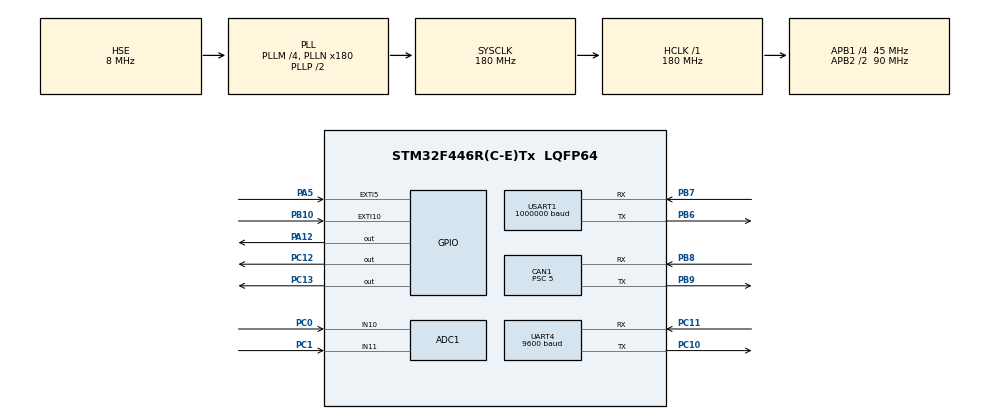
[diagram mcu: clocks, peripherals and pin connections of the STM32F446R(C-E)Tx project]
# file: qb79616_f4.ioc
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ADC1.Channel-0\#ChannelRegularConversion=ADC_CHANNEL_10
ADC1.Channel-2\#ChannelRegularConversion=ADC_CHANNEL_11
ADC1.ContinuousConvMode=ENABLE
ADC1.DMAContinuousRequests=ENABLE
ADC1.InjNumberOfConversion=0
ADC1.NbrOfConversion=2
ADC1.NbrOfConversionFlag=1
ADC1.Rank-0\#ChannelRegularConversion=1
ADC1.Rank-2\#ChannelRegularConversion=2
ADC1.SamplingTime-0\#ChannelRegularConversion=ADC_SAMPLETIME_3CYCLES
ADC1.SamplingTime-2\#ChannelRegularConversion=ADC_SAMPLETIME_3CYCLES
ADC1.ScanConvMode=ENABLE
ADC1.master=1
CAN1.BS1=CAN_BS1_14TQ
CAN1.BS2=CAN_BS2_3TQ
CAN1.CalculateBaudRate=500000
CAN1.CalculateTimeBit=2000
CAN1.CalculateTimeQuantum=111.11111111111111
CAN1.Prescaler=5
Dma.ADC1.0.Direction=DMA_PERIPH_TO_MEMORY
Dma.ADC1.0.FIFOMode=DMA_FIFOMODE_DISABLE
Dma.ADC1.0.Instance=DMA2_Stream0
Dma.ADC1.0.MemDataAlignment=DMA_MDATAALIGN_HALFWORD
Dma.ADC1.0.MemInc=DMA_MINC_ENABLE
Dma.ADC1.0.Mode=DMA_CIRCULAR
Dma.ADC1.0.PeriphDataAlignment=DMA_PDATAALIGN_HALFWORD
Dma.ADC1.0.PeriphInc=DMA_PINC_DISABLE
Dma.ADC1.0.Priority=DMA_PRIORITY_LOW
Dma.Request0=ADC1
Mcu.Family=STM32F4
Mcu.Name=STM32F446R(C-E)Tx
Mcu.Package=LQFP64
NVIC.ADC_IRQn=true\:5\:0\:true\:false\:true\:true\:true\:true
NVIC.CAN1_RX0_IRQn=true\:0\:0\:true\:false\:true\:true\:true\:true
NVIC.CAN1_RX1_IRQn=true\:0\:0\:true\:false\:true\:true\:true\:true
NVIC.DMA2_Stream0_IRQn=true\:5\:0\:true\:false\:true\:false\:true\:true
NVIC.EXTI9_5_IRQn=true\:5\:0\:true\:false\:true\:true\:true\:true
NVIC.PriorityGroup=NVIC_PRIORITYGROUP_4
NVIC.TIM1_UP_TIM10_IRQn=true\:15\:0\:false\:false\:true\:false\:true\:true
NVIC.TimeBase=TIM1_UP_TIM10_IRQn
NVIC.TimeBaseIP=TIM1
NVIC.USART1_IRQn=true\:0\:0\:true\:false\:true\:true\:true\:true
PA12.Signal=GPIO_Output
PA13.Mode=Serial_Wire
PA13.Signal=SYS_JTMS-SWDIO
PA14.Mode=Serial_Wire
PA14.Signal=SYS_JTCK-SWCLK
PA5.GPIO_ModeDefaultEXTI=GPIO_MODE_IT_FALLING
PA5.GPIO_PuPd=GPIO_PULLUP
PA5.Signal=GPXTI5
PB10.Signal=GPXTI10
PB6.Mode=Asynchronous
PB6.Signal=USART1_TX
PB7.Mode=Asynchronous
PB7.Signal=USART1_RX
PB8.Mode=CAN_Activate
PB8.Signal=CAN1_RX
PB9.Mode=CAN_Activate
PB9.Signal=CAN1_TX
PC0.Signal=ADCx_IN10
PC1.Signal=ADCx_IN11
PC10.Mode=Asynchronous
PC10.Signal=UART4_TX
PC11.Mode=Asynchronous
PC11.Signal=UART4_RX
PC12.PinState=GPIO_PIN_SET
PC12.Signal=GPIO_Output
PC13.Signal=GPIO_Output
PH0-OSC_IN.Mode=HSE-External-Oscillator
PH0-OSC_IN.Signal=RCC_OSC_IN
PH1-OSC_OUT.Mode=HSE-External-Oscillator
PH1-OSC_OUT.Signal=RCC_OSC_OUT
ProjectManager.HeapSize=0x200
ProjectManager.StackSize=0x400
ProjectManager.TargetToolchain=STM32CubeIDE
RCC.AHBFreq_Value=180000000
RCC.APB1CLKDivider=RCC_HCLK_DIV4
RCC.APB1Freq_Value=45000000
RCC.APB1TimFreq_Value=90000000
RCC.APB2CLKDivider=RCC_HCLK_DIV2
RCC.APB2Freq_Value=90000000
RCC.APB2TimFreq_Value=180000000
RCC.CortexFreq_Value=180000000
RCC.HCLKFreq_Value=180000000
RCC.HSE_VALUE=8000000
RCC.PLLM=4
RCC.PLLN=180
RCC.PLLSourceVirtual=RCC_PLLSOURCE_HSE
RCC.SYSCLKFreq_VALUE=180000000
RCC.SYSCLKSource=RCC_SYSCLKSOURCE_PLLCLK
RCC.USBFreq_Value=180000000
RCC.VCOOutputFreq_Value=360000000
SH.ADCx_IN10.0=ADC1_IN10,IN10
SH.ADCx_IN11.0=ADC1_IN11,IN11
UART4.BaudRate=9600
UART4.VirtualMode=Asynchronous
USART1.BaudRate=1000000
USART1.VirtualMode=VM_ASYNC
VP_SYS_VS_tim1.Mode=TIM1
board=custom

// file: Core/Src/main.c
/* USER CODE BEGIN Header */
/**
 ******************************************************************************
 * @file           : main.c
 * @brief          : Main program body
 ******************************************************************************
 * @attention
 *
 * Copyright (c) 2025 STMicroelectronics.
 * All rights reserved.
 *
 * This software is licensed under terms that can be found in the LICENSE file
 * in the root directory of this software component.
 * If no LICENSE file comes with this software, it is provided AS-IS..
 *
 ******************************************************************************
 */
/* USER CODE END Header */
#include "main.h"

/* USER CODE BEGIN Includes */

#include <stdint.h>
#include <stdio.h>
#include <stdlib.h>
#include <string.h>
#include "BMS_Config.h"
#include "BMS_tests.h"
#include "queue.h"
#include "semphr.h"
#include "event_groups.h"
#include "GUI.h"
#include "Faults.h"
#include "Voltages.h"
#include "Temperatures.h"
#include "Balancing.h"
/* USER CODE END Includes */

ADC_HandleTypeDef hadc1;
DMA_HandleTypeDef hdma_adc1;

CAN_HandleTypeDef hcan1;

UART_HandleTypeDef huart4;
UART_HandleTypeDef huart1;

/* USER CODE BEGIN PV */
//-----------------------------------------
// External Fault Variables
//-----------------------------------------
extern uint8_t bridge_faultSummary;

extern uint8_t bridge_faultPWR;
extern uint8_t bridge_faultSYS;
extern uint8_t bridge_faultREG;
extern uint8_t bridge_faultCOMM1;
extern uint8_t bridge_faultCOMM2;

//-----------------------------------------
//Define Tasks Handler to hold task ID
//-----------------------------------------
//TaskHandle_t defaultTaskHandle;

TaskHandle_t BmsInitTaskHandle;
TaskHandle_t BmsMonitorTaskHandle;
TaskHandle_t BmsFaultTaskHandle;
TaskHandle_t BmsBalancingTaskHandle;
TaskHandle_t BmsGUITaskHandle;
TaskHandle_t BmsChargerTaskHandle;
TaskHandle_t BmsCurrentSensorTaskHandle;

//----------------
//RTOS EVENTGroup Bits
//----------------
const EventBits_t BMS_INIT_DONE_BIT = (1 << 0);

EventGroupHandle_t BMS_EventGroup;

//----------------
//RTOS MUTEX
//----------------
SemaphoreHandle_t UART_MUTEX;
SemaphoreHandle_t CAN_MUTEX;

//Private user Variables
uint8_t init_done = 0;
float battery_volt = 0;
extern EventGroupHandle_t uartEventGroup;

//------------------------
//    CAN Variables
//-----------------------
CAN_TxHeaderTypeDef BMS_CAN_TxHandler;
CAN_TxHeaderTypeDef BMS_CHAR_CAN_TxHandler;
CAN_RxHeaderTypeDef BMS_CAN_RxHandler;

uint32_t TxMailbox;
uint8_t BMS_CAN_TxData[8];
BMS_CAN_Frame_t BMS_CAN_RxData;

//------------------------
//    CHARGER Variables
//-----------------------
volatile uint8_t charger_fault = 0;
volatile uint8_t charger_ON = 0;
volatile TickType_t charger_last_rx_time;

//------------------------
//    Current Sensor Variables
//-----------------------
volatile uint16_t current_buffer[NUM_SAMPLES * NUM_CHANNELS];
uint32_t raw_adc_Vout;
uint32_t raw_adc_Vref;
double current_read;

/* USER CODE END PV */

void SystemClock_Config(void);
static void MX_GPIO_Init(void);
static void MX_DMA_Init(void);
static void MX_USART1_UART_Init(void);
static void MX_UART4_Init(void);
static void MX_CAN1_Init(void);
static void MX_ADC1_Init(void);
/* USER CODE BEGIN PFP */

//Declare Tasks Entery point
//void StartDefaultTask(void const * argument);

void BMS_Init(void const * argument);

//A Task that periodically pull Cell voltage and Temperature reading
void BMS_MonitorTask(void const * argument);

//Activated by an Event group to trigger shutdown circuit and Handle fault
void BMS_FaultTask(void const * argument);

void BMS_BalancingTask(void const * argument);

void BMS_ChargerTask(void const * argument);

void BMS_GUI_Task(void const * argument);

void BMS_CurrentSensorTask(void const * argument);

/* USER CODE END PFP */

int main(void)
{

	/* MCU Configuration--------------------------------------------------------*/

	/* Reset of all peripherals, Initializes the Flash interface and the Systick. */
	HAL_Init();

	/* Configure the system clock */
	SystemClock_Config();

	/* Initialize all configured peripherals */
	MX_GPIO_Init();
	MX_DMA_Init();
	MX_USART1_UART_Init();
	MX_UART4_Init();
	MX_CAN1_Init();
	MX_ADC1_Init();
	/* USER CODE BEGIN 2 */
	HAL_GPIO_WritePin(GPIOC, GPIO_PIN_12, GPIO_PIN_SET);
	BMS_Can_Init();

	//==================Define EventGroups===================//
	BMS_EventGroup = xEventGroupCreate();
	if (BMS_EventGroup == NULL)
	{
		/* Handle error: insufficient heap */
		while(1);
	}
	/* Create Event Group */
	uartEventGroup = xEventGroupCreate();
	faultEventGroup = xEventGroupCreate();

	//==================Define MUTEX===================//
	UART_MUTEX = xSemaphoreCreateMutex();
	CAN_MUTEX  = xSemaphoreCreateMutex();

	//==================Define Tasks===================//
	xTaskCreate((TaskFunction_t) BMS_Init, "BMS_Init", 80, NULL,(UBaseType_t) 5, &BmsInitTaskHandle);
	xTaskCreate((TaskFunction_t) BMS_MonitorTask, "BMS_MonitorTask", 128, NULL,(UBaseType_t) 3, &BmsMonitorTaskHandle);

	xTaskCreate((TaskFunction_t) BMS_FaultTask, "BMS_FaultTask", 80, NULL,(UBaseType_t) 4, &BmsFaultTaskHandle);

	xTaskCreate((TaskFunction_t) BMS_BalancingTask, "BMS_BalancingTask", 256, NULL,(UBaseType_t) 4, &BmsBalancingTaskHandle);
	xTaskCreate((TaskFunction_t) BMS_ChargerTask, "BMS_ChargerTask", 128, NULL,(UBaseType_t) 2, &BmsChargerTaskHandle);
	xTaskCreate((TaskFunction_t) BMS_CurrentSensorTask, "CurrentSensor_Task", 128, NULL,(UBaseType_t) 1, &BmsCurrentSensorTaskHandle);

#ifdef GUI
	xTaskCreate((TaskFunction_t) BMS_GUI_Task, "BMS_GUITask", 128, NULL,(UBaseType_t) 2, &BmsGUITaskHandle);
#endif

	//=============Start the Scheduler================//
	vTaskStartScheduler();
	/* USER CODE END 2 */

	/* Infinite loop */
	while (1)
	{

	}
}

void SystemClock_Config(void)
{
	RCC_OscInitTypeDef RCC_OscInitStruct = {0};
	RCC_ClkInitTypeDef RCC_ClkInitStruct = {0};

	/** Configure the main internal regulator output voltage
	 */
	__HAL_RCC_PWR_CLK_ENABLE();
	__HAL_PWR_VOLTAGESCALING_CONFIG(PWR_REGULATOR_VOLTAGE_SCALE1);

	/** Initializes the RCC Oscillators according to the specified parameters
	 * in the RCC_OscInitTypeDef structure.
	 */
	RCC_OscInitStruct.OscillatorType = RCC_OSCILLATORTYPE_HSE;
	RCC_OscInitStruct.HSEState = RCC_HSE_ON;
	RCC_OscInitStruct.PLL.PLLState = RCC_PLL_ON;
	RCC_OscInitStruct.PLL.PLLSource = RCC_PLLSOURCE_HSE;
	RCC_OscInitStruct.PLL.PLLM = 4;
	RCC_OscInitStruct.PLL.PLLN = 180;
	RCC_OscInitStruct.PLL.PLLP = RCC_PLLP_DIV2;
	RCC_OscInitStruct.PLL.PLLQ = 2;
	RCC_OscInitStruct.PLL.PLLR = 2;
	if (HAL_RCC_OscConfig(&RCC_OscInitStruct) != HAL_OK)
	{
		Error_Handler();
	}

	/** Activate the Over-Drive mode
	 */
	if (HAL_PWREx_EnableOverDrive() != HAL_OK)
	{
		Error_Handler();
	}

	/** Initializes the CPU, AHB and APB buses clocks
	 */
	RCC_ClkInitStruct.ClockType = RCC_CLOCKTYPE_HCLK|RCC_CLOCKTYPE_SYSCLK
			|RCC_CLOCKTYPE_PCLK1|RCC_CLOCKTYPE_PCLK2;
	RCC_ClkInitStruct.SYSCLKSource = RCC_SYSCLKSOURCE_PLLCLK;
	RCC_ClkInitStruct.AHBCLKDivider = RCC_SYSCLK_DIV1;
	RCC_ClkInitStruct.APB1CLKDivider = RCC_HCLK_DIV4;
	RCC_ClkInitStruct.APB2CLKDivider = RCC_HCLK_DIV2;

	if (HAL_RCC_ClockConfig(&RCC_ClkInitStruct, FLASH_LATENCY_5) != HAL_OK)
	{
		Error_Handler();
	}
}

static void MX_ADC1_Init(void)
{

	ADC_ChannelConfTypeDef sConfig = {0};

	/** Configure the global features of the ADC (Clock, Resolution, Data Alignment and number of conversion)
	 */
	hadc1.Instance = ADC1;
	hadc1.Init.ClockPrescaler = ADC_CLOCK_SYNC_PCLK_DIV4;
	hadc1.Init.Resolution = ADC_RESOLUTION_12B;
	hadc1.Init.ScanConvMode = ENABLE;
	hadc1.Init.ContinuousConvMode = ENABLE;
	hadc1.Init.DiscontinuousConvMode = DISABLE;
	hadc1.Init.ExternalTrigConvEdge = ADC_EXTERNALTRIGCONVEDGE_NONE;
	hadc1.Init.ExternalTrigConv = ADC_SOFTWARE_START;
	hadc1.Init.DataAlign = ADC_DATAALIGN_RIGHT;
	hadc1.Init.NbrOfConversion = 2;
	hadc1.Init.DMAContinuousRequests = ENABLE;
	hadc1.Init.EOCSelection = ADC_EOC_SINGLE_CONV;
	if (HAL_ADC_Init(&hadc1) != HAL_OK)
	{
		Error_Handler();
	}

	/** Configure for the selected ADC regular channel its corresponding rank in the sequencer and its sample time.
	 */
	sConfig.Channel = ADC_CHANNEL_10;
	sConfig.Rank = 1;
	sConfig.SamplingTime = ADC_SAMPLETIME_3CYCLES;
	if (HAL_ADC_ConfigChannel(&hadc1, &sConfig) != HAL_OK)
	{
		Error_Handler();
	}

	/** Configure for the selected ADC regular channel its corresponding rank in the sequencer and its sample time.
	 */
	sConfig.Channel = ADC_CHANNEL_11;
	sConfig.Rank = 2;
	if (HAL_ADC_ConfigChannel(&hadc1, &sConfig) != HAL_OK)
	{
		Error_Handler();
	}

}

static void MX_CAN1_Init(void)
{

	hcan1.Instance = CAN1;
	hcan1.Init.Prescaler = 5;
	hcan1.Init.Mode = CAN_MODE_NORMAL;
	hcan1.Init.SyncJumpWidth = CAN_SJW_1TQ;
	hcan1.Init.TimeSeg1 = CAN_BS1_14TQ;
	hcan1.Init.TimeSeg2 = CAN_BS2_3TQ;
	hcan1.Init.TimeTriggeredMode = DISABLE;
	hcan1.Init.AutoBusOff = DISABLE;
	hcan1.Init.AutoWakeUp = DISABLE;
	hcan1.Init.AutoRetransmission = DISABLE;
	hcan1.Init.ReceiveFifoLocked = DISABLE;
	hcan1.Init.TransmitFifoPriority = DISABLE;
	if (HAL_CAN_Init(&hcan1) != HAL_OK)
	{
		Error_Handler();
	}

}

static void MX_UART4_Init(void)
{

	huart4.Instance = UART4;
	huart4.Init.BaudRate = 9600;
	huart4.Init.WordLength = UART_WORDLENGTH_8B;
	huart4.Init.StopBits = UART_STOPBITS_1;
	huart4.Init.Parity = UART_PARITY_NONE;
	huart4.Init.Mode = UART_MODE_TX_RX;
	huart4.Init.HwFlowCtl = UART_HWCONTROL_NONE;
	huart4.Init.OverSampling = UART_OVERSAMPLING_16;
	if (HAL_UART_Init(&huart4) != HAL_OK)
	{
		Error_Handler();
	}

}

static void MX_USART1_UART_Init(void)
{

	huart1.Instance = USART1;
	huart1.Init.BaudRate = 1000000;
	huart1.Init.WordLength = UART_WORDLENGTH_8B;
	huart1.Init.StopBits = UART_STOPBITS_1;
	huart1.Init.Parity = UART_PARITY_NONE;
	huart1.Init.Mode = UART_MODE_TX_RX;
	huart1.Init.HwFlowCtl = UART_HWCONTROL_NONE;
	huart1.Init.OverSampling = UART_OVERSAMPLING_16;
	if (HAL_UART_Init(&huart1) != HAL_OK)
	{
		Error_Handler();
	}

}

static void MX_DMA_Init(void)
{

	/* DMA controller clock enable */
	__HAL_RCC_DMA2_CLK_ENABLE();

	/* DMA interrupt init */
	/* DMA2_Stream0_IRQn interrupt configuration */
	HAL_NVIC_SetPriority(DMA2_Stream0_IRQn, 5, 0);
	HAL_NVIC_EnableIRQ(DMA2_Stream0_IRQn);

}

static void MX_GPIO_Init(void)
{
	GPIO_InitTypeDef GPIO_InitStruct = {0};

	/* GPIO Ports Clock Enable */
	__HAL_RCC_GPIOC_CLK_ENABLE();
	__HAL_RCC_GPIOH_CLK_ENABLE();
	__HAL_RCC_GPIOA_CLK_ENABLE();
	__HAL_RCC_GPIOB_CLK_ENABLE();

	/*Configure GPIO pin Output Level */
	HAL_GPIO_WritePin(GPIOC, GPIO_PIN_13, GPIO_PIN_RESET);

	/*Configure GPIO pin Output Level */
	HAL_GPIO_WritePin(GPIOA, GPIO_PIN_12, GPIO_PIN_RESET);

	/*Configure GPIO pin Output Level */
	HAL_GPIO_WritePin(GPIOC, GPIO_PIN_12, GPIO_PIN_SET);

	/*Configure GPIO pins : PC13 PC12 */
	GPIO_InitStruct.Pin = GPIO_PIN_13|GPIO_PIN_12;
	GPIO_InitStruct.Mode = GPIO_MODE_OUTPUT_PP;
	GPIO_InitStruct.Pull = GPIO_NOPULL;
	GPIO_InitStruct.Speed = GPIO_SPEED_FREQ_LOW;
	HAL_GPIO_Init(GPIOC, &GPIO_InitStruct);

	/*Configure GPIO pin : PA5 */
	GPIO_InitStruct.Pin = GPIO_PIN_5;
	GPIO_InitStruct.Mode = GPIO_MODE_IT_FALLING;
	GPIO_InitStruct.Pull = GPIO_PULLUP;
	HAL_GPIO_Init(GPIOA, &GPIO_InitStruct);

	/*Configure GPIO pin : PB10 */
	GPIO_InitStruct.Pin = GPIO_PIN_10;
	GPIO_InitStruct.Mode = GPIO_MODE_IT_RISING;
	GPIO_InitStruct.Pull = GPIO_NOPULL;
	HAL_GPIO_Init(GPIOB, &GPIO_InitStruct);

	/*Configure GPIO pin : PA12 */
	GPIO_InitStruct.Pin = GPIO_PIN_12;
	GPIO_InitStruct.Mode = GPIO_MODE_OUTPUT_PP;
	GPIO_InitStruct.Pull = GPIO_NOPULL;
	GPIO_InitStruct.Speed = GPIO_SPEED_FREQ_LOW;
	HAL_GPIO_Init(GPIOA, &GPIO_InitStruct);

	/* EXTI interrupt init*/
	HAL_NVIC_SetPriority(EXTI9_5_IRQn, 5, 0);
	HAL_NVIC_EnableIRQ(EXTI9_5_IRQn);

}

/* USER CODE BEGIN 4 */
void BMS_Init(void const * argument)
{
	//=============================
	//Initializing Daisy Chain Communication
	//=============================

	Wake79600_RTOS();

#ifdef CHAIN
	Bridge_AutoAddress();
#elif defined(RING)
	AutoAddress_Ring();
	init_done = 1;
#endif

	//todo make it a for loop on the number of slaves
	for(uint8_t i = 1; i < TOTALBOARDS; i++)
	{

		if(configure_OVUV(i, slaveCellCount[i-1]) != 1)
		{
			//error

			while(1);

		}
		if(configure_OTUT(i, slaveGPIOCount[i-1]) != 1)
		{
			//error

			while(1);

		}
	}

	Bridge_FaultInit();
	Stack_FaultInit();
	writeReg(0, Bridge_DEV_CONF1, 0x14, 1, FRMWRT_SGL_W);
	vTaskDelay(10);

	//=============================
	//Initializing Daisy Chain ADCs
	//=============================
	writeReg(0, BQ79616_ADC_CTRL1, 0x06, 1, FRMWRT_STK_W);
	vTaskDelay(10);

	uint8_t dev_stat;
	for(uint8_t i = 1; i < TOTALBOARDS; i++)
	{
		readReg(i, DEV_STAT, &dev_stat, 1, 200, FRMWRT_SGL_R);
		if((dev_stat& 0x01) == 0){
			//error
#ifndef BENCH_SKIP_ABSENT_SLAVE_HANG
			while(1);
#endif
		}
	}

	xEventGroupSetBits(BMS_EventGroup, BMS_INIT_DONE_BIT);

	vTaskDelete(NULL);

}

#ifdef GUI
void BMS_GUI_Task(void const * argument)
{
	xEventGroupWaitBits(BMS_EventGroup, BMS_INIT_DONE_BIT, pdFALSE, pdTRUE, portMAX_DELAY);
	for(;;)
	{

		Send_GUI_Reading();

		HAL_GPIO_WritePin(GPIOC, GPIO_PIN_13, GPIO_PIN_SET);
		vTaskDelay(500);
		HAL_GPIO_WritePin(GPIOC, GPIO_PIN_13, GPIO_PIN_RESET);
		vTaskDelay(500);

	}
}

#endif
//A Task that periodically pull Cell voltage and Temperature reading
void BMS_MonitorTask(void const * argument)
{

	//todo Make timeout and Handling to this timeout
	xEventGroupWaitBits(BMS_EventGroup, BMS_INIT_DONE_BIT, pdFALSE, pdTRUE, portMAX_DELAY);
	for(;;)
	{

		xSemaphoreTake(UART_MUTEX, portMAX_DELAY);////////////////////////////////
		readAllBoardVoltages();
		convertVoltages();

		readBAL_STAT();
		if(current_read >= OV_CURRENT)
		{
			SHUTDOWN();
		}
		else {
			handleAllFaults();
		}
		readAllFaultSummaries();

		xSemaphoreGive(UART_MUTEX);////////////////////////////////////////////////

		vTaskDelay(pdMS_TO_TICKS(10)); //delay for Commandtask to take mutex

		xSemaphoreTake(UART_MUTEX, portMAX_DELAY);///////////////////////////////////////////
		readAllGPIO();
		readTSREF();
		convertAllTemperatures();

		xSemaphoreGive(UART_MUTEX);///////////////////////////////////////////////////////////

	}
}

BMS_CAN_Frame_t tx_frame = {0};

void BMS_ChargerTask(void const * argument)
{

	TickType_t current_tick = 0;
	BMS_CHAR_CAN_TxHandler.RTR = CAN_RTR_DATA;           //Set RTR bit to 0(sends data)
	BMS_CHAR_CAN_TxHandler.DLC = CAN_MSG_SIZE;           //Data sent is CAN_MSG_SIZE bytes in BMS_Config.h
	BMS_CHAR_CAN_TxHandler.StdId = 0x00;               //Message ID
	BMS_CHAR_CAN_TxHandler.ExtId = CAN_BMS_TO_CH;      //Message ID extension for CAN extend
	BMS_CHAR_CAN_TxHandler.IDE = CAN_ID_EXT;             //CAN ID is 11 bits

	while(1)
	{
		charger_fault = 0;
		// Wait until interrupt occurs
		ulTaskNotifyTake(
				pdTRUE,        // Clear notification value before returning
				portMAX_DELAY  // Block forever
		);
		charger_last_rx_time = xTaskGetTickCount();
		while(1)
		{

			//Check charger communication timeout
			current_tick = xTaskGetTickCount();
			if((current_tick - charger_last_rx_time) > pdMS_TO_TICKS(5000))
			{
				charger_fault = 1;
			}

			//Charger fault detected
			memset(&tx_frame,0,sizeof(tx_frame));

			if(charger_fault && charger_ON)
			{

				tx_frame.bytes[0] = 0;
				tx_frame.bytes[1] = 0;
				tx_frame.bytes[2] = 0;
				tx_frame.bytes[3] = 0;
				tx_frame.bytes[4] = CHAR_STOP;

				//send stop frame
				xSemaphoreTake(CAN_MUTEX, portMAX_DELAY);
				if( HAL_CAN_AddTxMessage(&hcan1, &BMS_CHAR_CAN_TxHandler, (uint8_t*)&(tx_frame), &TxMailbox) != HAL_OK)
				{
					//error
					HAL_UART_Transmit(&huart4, (uint8_t*)"CAN Failed", 10, HAL_MAX_DELAY);
				}
				xSemaphoreGive(CAN_MUTEX);//
				vTaskDelay(10);
				break;
			}
			else if(charger_ON)
			{
				tx_frame.bytes[0] = CHAR_MAX_VOLT_High;
				tx_frame.bytes[1] = CHAR_MAX_VOLT_low;
				tx_frame.bytes[2] = CHAR_MAX_AMP_High;
				tx_frame.bytes[3] = CHAR_MAX_AMP_low;
				tx_frame.bytes[4] = CHAR_START;
				xSemaphoreTake(CAN_MUTEX, portMAX_DELAY);
				if( HAL_CAN_AddTxMessage(&hcan1, &BMS_CHAR_CAN_TxHandler, (uint8_t*)&(tx_frame), &TxMailbox) != HAL_OK)
				{
					//error
					HAL_UART_Transmit(&huart4, (uint8_t*)"CAN Failed", 10, HAL_MAX_DELAY);
				}
				xSemaphoreGive(CAN_MUTEX);
				vTaskDelay(10);
				SHUTDOWN();
			}

			vTaskDelay(pdMS_TO_TICKS(1000));

		}

	}
}

void BMS_FaultTask(void const * argument)
{
	xEventGroupWaitBits(BMS_EventGroup, BMS_INIT_DONE_BIT, pdFALSE, pdTRUE, portMAX_DELAY);

	while(1)
	{
		xEventGroupWaitBits(
				faultEventGroup,
				FAULT_EVENT_BIT,
				pdTRUE,
				pdFALSE,
				portMAX_DELAY
		);

		//		Bridge_CheckFaults();
		//		Stack_CheckFaultSummary();
		//		HAL_GPIO_WritePin(GPIOB, GPIO_PIN_12, GPIO_PIN_SET);
		//		vTaskDelay(1000);
		//		HAL_GPIO_WritePin(GPIOB, GPIO_PIN_12, GPIO_PIN_RESET);
		//vTaskDelay(1000);
		//Send_GUI_Reading ();

	}

}

void BMS_BalancingTask(void const * argument)
{
	// waits for BMS_Init to finish
	xEventGroupWaitBits(BMS_EventGroup, BMS_INIT_DONE_BIT, pdFALSE, pdTRUE, portMAX_DELAY);
	//vTaskDelay(pdMS_TO_TICKS(BAL_LOOP_DELAY_MS));
	// one-time setup
	xSemaphoreTake(UART_MUTEX, portMAX_DELAY);
	balancing_init();
	balancing_update();
	xSemaphoreGive(UART_MUTEX);

	for (;;)
	{

		vTaskDelay(pdMS_TO_TICKS(BAL_LOOP_DELAY_MS));  // 60 second delay
		if(charger_ON){
			xSemaphoreTake(UART_MUTEX, portMAX_DELAY);
			balancing_update();
			readBAL_STAT();
			xSemaphoreGive(UART_MUTEX);
		}
		else
		{
			balancing_stop();
		}
	}
}

/**================================================================
 * @Fn				- CurrentSensorTask
 * @breif			- Function implementing the CurrentSensor_Task thread
 * 					- Current estimation Using ADC1
 * @param [in]		- argument: Not Used
 * Delay:			- This task is blocked for 10 ticks unless the event is set by the ISR.
 * Note:			- Tick = 10 ms
 */
void BMS_CurrentSensorTask(void const * argument)
{
	double Vref_V = 0;
	double Vout_V = 0;

	while(1)
	{
		// 1. Tell hardware to collect exactly 10 pairs of samples in the background
		HAL_ADC_Start_DMA(&hadc1, (uint32_t *)current_buffer, NUM_SAMPLES * NUM_CHANNELS);

		// 2. Sleep indefinitely until the DMA interrupt signals us it is done
		ulTaskNotifyTake(pdTRUE, portMAX_DELAY);

		// 3. Hardware has finished! Processing phase
		raw_adc_Vref = 0;
		raw_adc_Vout = 0;

		// The DMA fills the array like this: [Vref0, Vout0, Vref1, Vout1...]
		for(uint8_t i = 0; i < (NUM_SAMPLES * NUM_CHANNELS); i += 2)
		{
			raw_adc_Vref += current_buffer[i];
			raw_adc_Vout += current_buffer[i+1];
		}

		// 4. Calculate final values
		Vref_V = (double)(((raw_adc_Vref )/40950.0)*3.3);
		Vout_V = (double)(((raw_adc_Vout )/40950.0)*3.3);
		current_read = (Vout_V - Vref_V) * (HASS_50_S_IPN/0.625);

		if(current_read >= OV_CURRENT)
		{
			//xEventGroupSetBits(faultEventGroup, FAULT_EVENT_BIT);
		}
		// 5. Rest for 20ms before starting the next batch
		vTaskDelay(pdMS_TO_TICKS(100));
	}
}

void HAL_CAN_RxFifo0MsgPendingCallback(CAN_HandleTypeDef *hcan)
{

	//Not check on ID, As Can filter only receives charger frames
	if (HAL_CAN_GetRxMessage(hcan, CAN_RX_FIFO0, &BMS_CAN_RxHandler, BMS_CAN_RxData.bytes) == HAL_OK)
	{
		// Charger broadcast received
		charger_last_rx_time = xTaskGetTickCountFromISR();

		if((BMS_CAN_RxData.bytes[4] & 0b1000) == 0) //charger is ON
		{
			charger_ON = 1;
			if((BMS_CAN_RxData.bytes[4] & 0b0111) != 0) //Fault Occurred
			{
				charger_fault = 1;
			}
		}
		else
		{
			charger_ON = 0;
		}

		return; // Error
	}
}

void HAL_ADC_ConvCpltCallback(ADC_HandleTypeDef* hadc1) {
	if (hadc1->Instance == ADC1) {
		BaseType_t xHigherPriorityTaskWoken = pdFALSE;

		// Unblock the Current Sensor Task
		vTaskNotifyGiveFromISR(BmsCurrentSensorTaskHandle, &xHigherPriorityTaskWoken);

		// Context switch if needed
		portYIELD_FROM_ISR(xHigherPriorityTaskWoken);
	}
}

/* USER CODE END 4 */

void HAL_TIM_PeriodElapsedCallback(TIM_HandleTypeDef *htim)
{
	if (htim->Instance == TIM1) {
		HAL_IncTick();
	}
}

void Error_Handler(void)
{
	__disable_irq();
	while (1)
	{
	}
}
